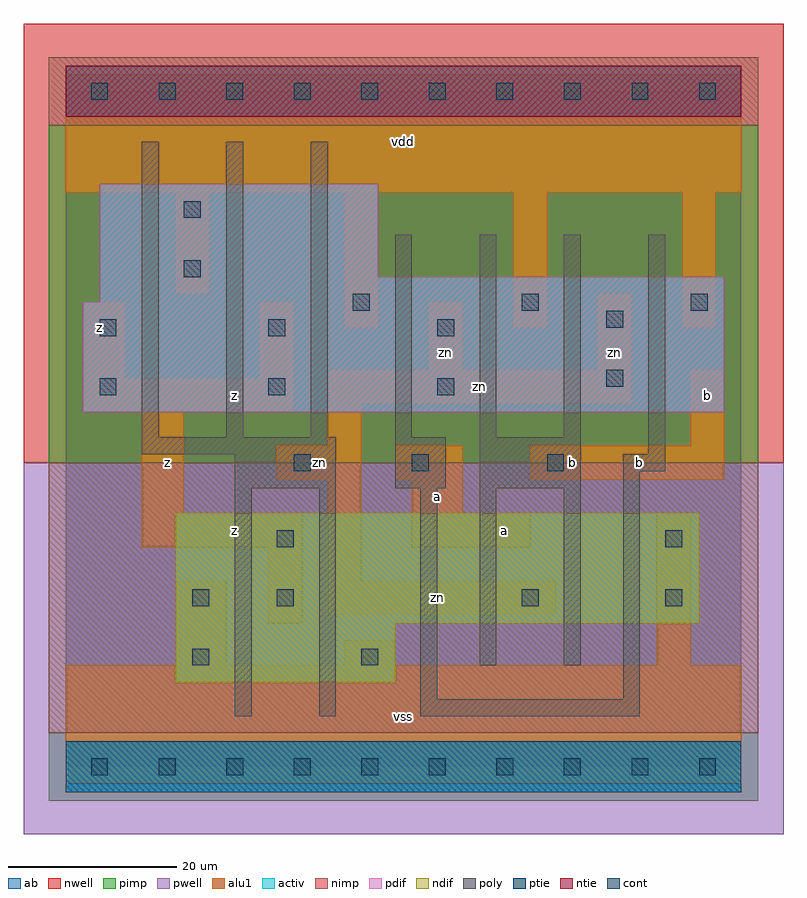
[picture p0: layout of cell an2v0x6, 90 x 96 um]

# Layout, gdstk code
import gdstk
lib = gdstk.Library(unit=1e-6, precision=1e-09)
def R(c, l, rs):  # rectangles x0, y0, x1, y1
    for r in rs: c.add(gdstk.rectangle(r[:2], r[2:], *l))
def A(c, l, x, y, w, h, nx, ny, dx, dy):  # array of equal rectangles
    R(c, l, [(x+i*dx, y+j*dy, x+i*dx+w, y+j*dy+h) for i in range(nx) for j in range(ny)])
ndif = (3, 0)
pdif = (4, 0)
ntie = (5, 0)
ptie = (6, 0)
cont = (25, 0)
pwell = (41, 0)
nwell = (42, 0)
activ = (43, 0)
pimp = (44, 0)
nimp = (45, 0)
poly = (46, 0)
alu1 = (49, 0)
ab = (63, 0)

an2v0x6 = lib.new_cell('an2v0x6')
R(an2v0x6, ndif, [(13,10,39,17), (13,17,75,30)])
R(an2v0x6, pdif, [(2,42,78,55), (4,55,78,58), (4,58,37,69)])
R(an2v0x6, ntie, [(0,77,80,83)])
R(an2v0x6, ptie, [(0,-3,80,3)])
A(an2v0x6, cont, 3, -1, 2, 2, 10, 2, 8, 80)
A(an2v0x6, cont, 4, 44, 2, 2, 3, 2, 20, 7)
A(an2v0x6, cont, 34, 54, 2, 2, 3, 1, 20, 0)
R(an2v0x6, cont, [(15,12,17,14), (35,12,37,14), (15,19,17,21), (25,19,27,21), (54,19,56,21), (71,19,73,21), (25,26,27,28), (71,26,73,28), (27,35,29,37), (41,35,43,37), (57,35,59,37), (64,45,66,47), (64,52,66,54), (14,58,16,60), (14,65,16,67)])
R(an2v0x6, pwell, [(-5,-8,85,36)])
R(an2v0x6, nwell, [(-5,36,85,88)])
R(an2v0x6, activ, [(0,-3,80,3), (13,10,39,17), (13,17,75,30), (2,42,78,55), (4,55,78,58), (4,58,37,69), (0,77,80,83)])
R(an2v0x6, pimp, [(-2,-4,82,4), (-2,36,82,76)])
R(an2v0x6, nimp, [(-2,4,82,36), (-2,76,82,84)])
A(an2v0x6, poly, 9, 39, 2, 35, 3, 1, 10, 0)
A(an2v0x6, poly, 39, 39, 2, 24, 3, 1, 10, 0)
R(an2v0x6, poly, [(20,6,22,33), (30,6,32,33), (42,6,68,8), (42,8,44,33), (66,8,68,35), (49,12,51,33), (59,12,61,33), (20,33,32,37), (39,33,45,39), (49,33,61,39), (66,35,71,37), (9,37,32,39), (69,37,71,63)])
A(an2v0x6, alu1, 33, 52, 4, 16, 3, 1, 20, 0)
R(an2v0x6, alu1, [(0,-2,80,12), (13,12,19,22), (33,12,39,15), (70,12,74,30), (24,17,28,26), (31,18,58,22), (31,22,35,34), (9,26,28,30), (41,26,55,30), (9,30,14,42), (41,30,47,34), (25,34,35,38), (39,34,47,38), (55,34,78,38), (31,38,35,43), (74,38,78,47), (2,42,27,46), (31,43,67,47), (2,46,7,55), (23,46,27,55), (43,47,47,55), (63,47,67,56), (13,56,17,68), (0,68,80,82)])
R(an2v0x6, ab, [(0,0,80,80)])
an2v0x6.add(gdstk.Label('zn', (30,36), layer=49, texttype=0))
an2v0x6.add(gdstk.Label('zn', (44,20), layer=49, texttype=0))
an2v0x6.add(gdstk.Label('zn', (45,49), layer=49, texttype=0))
an2v0x6.add(gdstk.Label('zn', (49,45), layer=49, texttype=0))
an2v0x6.add(gdstk.Label('zn', (65,49), layer=49, texttype=0))
an2v0x6.add(gdstk.Label('z', (12,36), layer=49, texttype=0))
an2v0x6.add(gdstk.Label('z', (4,52), layer=49, texttype=0))
an2v0x6.add(gdstk.Label('z', (20,28), layer=49, texttype=0))
an2v0x6.add(gdstk.Label('z', (20,44), layer=49, texttype=0))
an2v0x6.add(gdstk.Label('vss', (40,6), layer=49, texttype=0))
an2v0x6.add(gdstk.Label('a', (44,32), layer=49, texttype=0))
an2v0x6.add(gdstk.Label('a', (52,28), layer=49, texttype=0))
an2v0x6.add(gdstk.Label('vdd', (40,74), layer=49, texttype=0))
an2v0x6.add(gdstk.Label('b', (60,36), layer=49, texttype=0))
an2v0x6.add(gdstk.Label('b', (68,36), layer=49, texttype=0))
an2v0x6.add(gdstk.Label('b', (76,44), layer=49, texttype=0))

lib.write_gds('an2v0x6.gds')
